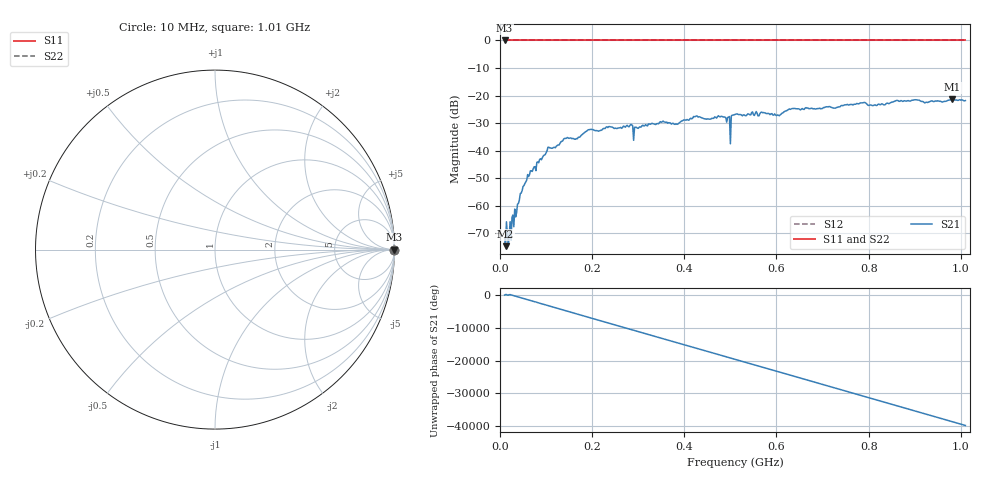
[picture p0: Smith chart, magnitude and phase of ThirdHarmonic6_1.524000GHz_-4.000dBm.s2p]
! 8/16/2025 6:00:06 PM
! C:\ANRITSUVNA\TEMP\TEMP.S2P
! CHANNEL.1
! TR.MEASUREMENT
! RAW.DATA
! RF.CORRECTION.OFF
! AVERAGING.OFF
! IF.BANDWIDTH: 5KHZ
! SWEEPTYPE:  FREQ.SWEEP(Linear)
! Reference Plane Port Info
! PORT:  PORT1  PORT2
! DISTANCE:  0  m  0  m
! TIME:  0  s  0  s
! PHASE.OFFSET:  0  deg.  0  deg.
! LOSS:  0  dB  0  dB
! REF.LOSS:  0  dB  0  dB
! REF.FREQ:  0  Hz  0  Hz
! Power Info
! POWER:  -20  dBm  -20  dBm
! EFF.POWER:  -20  dBm  -20  dBm
! SOURCE.ATTEN:  0  dB  0  dB
! TEST.ATTEN:  0  dB  0  dB
# GHZ S RI R 50.0
! FREQ.GHZ  S11RE  S11IM  S21RE  S21IM  S12RE  S12IM  S22RE  S22IM
!; PortSelection: Port_12
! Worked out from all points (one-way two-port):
!   501 points, 10 MHz to 1.01 GHz, reference 50 ohm
!   highest |S21| = -21.37 dB at 982 MHz (marker M1); lowest = -74.6 dB at 12 MHz (marker M2)
!   lowest |S11| = 0.0 dB at 10 MHz (marker M3)
!   |S11| at or under -10 dB: nowhere
!   |S22| runs from 0.0 to 0.0 dB; largest |S21 - S12| = 1.1
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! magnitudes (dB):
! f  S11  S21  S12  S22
! 10 MHz  0.0  -71.4  0.0  0.0
! 12 MHz  0.0  -74.6  0.0  0.0
! 18 MHz  0.0  -74.5  0.0  0.0
! 20 MHz  0.0  -70.6  0.0  0.0
! 56 MHz  0.0  -51.3  0.0  0.0
! 84 MHz  0.0  -44.4  0.0  0.0
! 106 MHz  0.0  -38.7  0.0  0.0
! 178 MHz  0.0  -34.2  0.0  0.0
! 196 MHz  0.0  -32.3  0.0  0.0
! 284 MHz  0.0  -30.5  0.0  0.0
! 294 MHz  0.0  -31.5  0.0  0.0
! 344 MHz  0.0  -30.2  0.0  0.0
! 478 MHz  0.0  -27.7  0.0  0.0
! 494 MHz  0.0  -28.0  0.0  0.0
! 496 MHz  0.0  -27.8  0.0  0.0
! 510 MHz  0.0  -26.8  0.0  0.0
! 604 MHz  0.0  -27.1  0.0  0.0
! 632 MHz  0.0  -24.8  0.0  0.0
! 678 MHz  0.0  -24.7  0.0  0.0
! 844 MHz  0.0  -23.0  0.0  0.0
! 982 MHz  0.0  -21.4  0.0  0.0
! 1.01 GHz  0.0  -21.8  0.0  0.0
